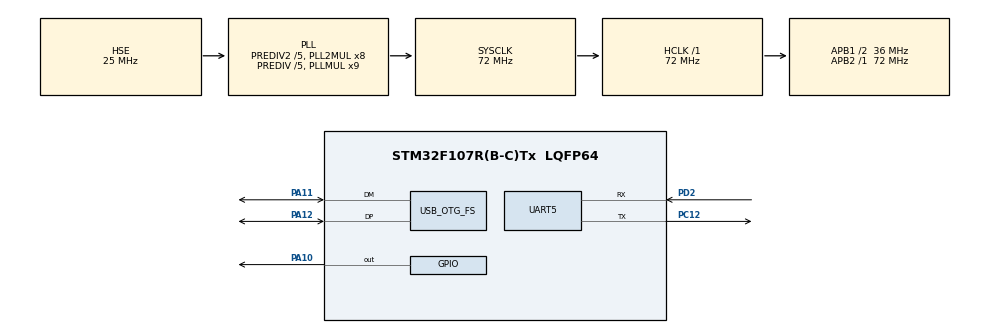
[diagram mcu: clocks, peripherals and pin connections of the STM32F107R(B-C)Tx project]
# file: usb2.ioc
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Mcu.Family=STM32F1
Mcu.Name=STM32F107R(B-C)Tx
Mcu.Package=LQFP64
NVIC.OTG_FS_IRQn=true\:0\:0\:false\:false\:true\:true\:true\:true
NVIC.PriorityGroup=NVIC_PRIORITYGROUP_4
NVIC.TIM1_UP_IRQn=true\:15\:0\:false\:false\:true\:false\:true\:true
NVIC.TimeBase=TIM1_UP_IRQn
NVIC.TimeBaseIP=TIM1
NVIC.UART5_IRQn=true\:0\:0\:false\:false\:true\:true\:true\:true
PA10.Signal=GPIO_Output
PA11.Mode=Host_Only
PA11.Signal=USB_OTG_FS_DM
PA12.Mode=Host_Only
PA12.Signal=USB_OTG_FS_DP
PC12.Mode=Asynchronous
PC12.Signal=UART5_TX
PD0-OSC_IN.Mode=HSE-External-Oscillator
PD0-OSC_IN.Signal=RCC_OSC_IN
PD1-OSC_OUT.Mode=HSE-External-Oscillator
PD1-OSC_OUT.Signal=RCC_OSC_OUT
PD2.Mode=Asynchronous
PD2.Signal=UART5_RX
ProjectManager.HeapSize=0x200
ProjectManager.StackSize=0x400
ProjectManager.TargetToolchain=STM32CubeIDE
RCC.AHBFreq_Value=72000000
RCC.APB1CLKDivider=RCC_HCLK_DIV2
RCC.APB1Freq_Value=36000000
RCC.APB1TimFreq_Value=72000000
RCC.APB2Freq_Value=72000000
RCC.APB2TimFreq_Value=72000000
RCC.HCLKFreq_Value=72000000
RCC.HSEDivPLL=RCC_HSE_PREDIV_DIV5
RCC.HSE_VALUE=25000000
RCC.PLLMUL=RCC_PLL_MUL9
RCC.PLLSourceVirtual=RCC_PLLSOURCE_HSE
RCC.Prediv1Source=RCC_PREDIV1_SOURCE_PLL2
RCC.Prediv2=RCC_HSE_PREDIV2_DIV5
RCC.SYSCLKFreq_VALUE=72000000
RCC.SYSCLKSource=RCC_SYSCLKSOURCE_PLLCLK
RCC.USBFreq_Value=48000000
UART5.VirtualMode=Asynchronous
USB_HOST.USBH_DEBUG_LEVEL=3
USB_HOST.USBH_HandleTypeDef=hUsbHostFS
USB_HOST.USBH_MAX_DATA_BUFFER=2048
USB_HOST.USBH_MAX_NUM_CONFIGURATION=255
USB_HOST.USBH_MAX_NUM_ENDPOINTS=15
USB_HOST.USBH_MAX_NUM_INTERFACES=15
USB_HOST.USBH_MAX_NUM_SUPPORTED_CLASS=15
USB_HOST.USBH_USE_OS-ALL_Classes_FS=0
USB_HOST.VirtualModeFS=All_Classes
USB_OTG_FS.VirtualMode=Host_Only
USB_OTG_FS.speed=HCD_SPEED_LOW
VP_SYS_VS_tim1.Mode=TIM1
VP_USB_HOST_VS_USB_HOST_ALL_CLASS_FS.Mode=ALL_Classes_FS
board=custom

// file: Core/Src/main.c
/* USER CODE BEGIN Header */
/**
 ******************************************************************************
 * @file           : main.c
 * @brief          : Main program body
 ******************************************************************************
 * @attention
 *
 * Copyright (c) 2023 STMicroelectronics.
 * All rights reserved.
 *
 * This software is licensed under terms that can be found in the LICENSE file
 * in the root directory of this software component.
 * If no LICENSE file comes with this software, it is provided AS-IS.
 *
 ******************************************************************************
 */
/* USER CODE END Header */
#include "main.h"
#include "usart.h"
#include "usb_host.h"
#include "gpio.h"

/* USER CODE BEGIN Includes */
#include "stdarg.h"
#include "usbh_cdc.h"
#include "../2can/hw.h"
#include "../2can/PaymentController.h"
#include "../2can/WebObject.h"
/* USER CODE END Includes */

/* USER CODE BEGIN PTD */
typedef enum {
	UART_RX_0 = 48,
	UART_RX_1,
	UART_RX_2,
	UART_RX_NONE = 0xFF,
}UARTCommandTypeDef;

#define RXBUFFERSIZE                     64

/* USER CODE END PTD */

/* USER CODE BEGIN PD */

#define DEBUG_ENABLED 					1
#define AUTH                    		1
#define GET_READER_INFO         		1
#define TEST_LINKED_CARD 				0
#define TEST_CARD_PAYMENT 				1
#define TEST_SCHEDULE					0
#define TEST_REVERSE					0
#define TEST_PURCHASES					0
#define TEST_PRODUCT					0
#define TEST_TAGS						0
#define TEST_TRANSACTION				0
#define TEST_FISCALIZE					0
#define TEST_PREPARE					0
#define TEST_REVERSE_LAST_TRANSACTION 	0

#define EMAIL            				""
#define SECRET_KEY					""
#define AMOUNT							23.0
#define AMOUNT_REVERSE					0.0
#define TRANSACTION_ID					"CBEC0494-6938-489E-B3FA-FC829C6EAAB0"
#define RECEIPT_EMAIL					"test@mail.de"
#define RECEIPT_PHONE					"+73211232312"
#define ACQUIRER_CODE					NULL		//"ACQ_CODE"
#define PRODUCT_FIELD_TEST_DATA			"field data"
#define PRINTER_TAPE_WIDTH_CHARS		32

/* USER CODE END PD */

/* USER CODE BEGIN PV */

static char uart_tx_buf[250];
int uart_buf_len;
int isBleuIOReady;
static UARTCommandTypeDef uartStatus;
static uint8_t aRxBuffer[RXBUFFERSIZE];
static int RX_value;
/* USER CODE END PV */

void SystemClock_Config(void);
void MX_USB_HOST_Process(void);

/* USER CODE BEGIN 0 */
void UARTPrint(const char *args, ...)
{
	char StrBuff[256];
	va_list ap;
	va_start(ap, args);
	char len = vsnprintf(StrBuff, sizeof(StrBuff), args, ap);
	va_end(ap);
	HAL_UART_Transmit(&huart5,(uint8_t*)StrBuff,len,100);
}

//extern USBH_HandleTypeDef hUsbHostFS;
extern ApplicationTypeDef Appli_state;
extern USBH_StatusTypeDef usbresult;

#define RX_BUFF_SIZE   64  /* Max Received data 1KB */

uint8_t CDC_RX_Buffer[RX_BUFF_SIZE];
uint8_t CDC_TX_Buffer[RX_BUFF_SIZE];

typedef enum {
	CDC_STATE_IDLE = 0,
	CDC_SEND,
	CDC_RECEIVE,
}CDC_StateTypedef;

CDC_StateTypedef CDC_STATE = CDC_STATE_IDLE;

uint8_t i=4;
void CDC_HANDLE (void)
{
	switch (CDC_STATE)
	{
	case CDC_STATE_IDLE:
	{
		USBH_CDC_Stop(&hUsbHostFS);
		int len = sprintf ((char *)CDC_TX_Buffer, "DATA = %d", i);
		if (USBH_CDC_Transmit (&hUsbHostFS, CDC_TX_Buffer, len) == USBH_OK)
		{
			CDC_STATE = CDC_RECEIVE;
		}
		i++;
		break;
	}

	case CDC_RECEIVE:
	{
		USBH_CDC_Stop(&hUsbHostFS);
		usbresult = USBH_CDC_Receive(&hUsbHostFS, (uint8_t *) CDC_RX_Buffer, RX_BUFF_SIZE);
		HAL_Delay (1000);
		CDC_STATE = CDC_STATE_IDLE;
	}

	default:
		break;
	}
}
Ibox_Account *mAccount = NULL;
const char *mTransactionId = NULL;
void startTransactionAction(const char *transactionId)
{
	mTransactionId = transactionId;
	fprintf(stderr, "TransactionID:%s\n", transactionId);
}
int selectEmvApplicationAction(char **emvApplications, int emvApplicationsCount)
{
	fprintf(stderr, "selectEmvApplicationAction\n");
	int selectedIndex = 1;
	for (int i = 0; i < emvApplicationsCount; i++)
		fprintf(stderr, "emv app title: %d - %s\n", i, emvApplications[i]);
	return selectedIndex;
}
void sendUSB(char *buf, int size)
{

		switch(Appli_state)
		{
		case  APPLICATION_IDLE:
			UARTPrint("APPLICATION_IDLE\r\n");
			break;
		case  APPLICATION_DISCONNECT:
			UARTPrint("APPLICATION_DISCONNECT\r\n");
			break;
		case    APPLICATION_START:
			//UARTPrint("  APPLICATION_START\r\n");
			USBH_CDC_Stop(&hUsbHostFS);
			USBH_CDC_Transmit (&hUsbHostFS, buf, size);
			//HAL_UART_Transmit_IT(&huart5, buf, size);
			i++;
			HAL_Delay(1000);
//			USBH_CDC_Receive(&hUsbHostFS,buf, size);
//			UARTPrint("Recive ------------------------------\r\n\n");
//
//			HAL_UART_Transmit_IT(&huart5, buf, size);
			break;
		case APPLICATION_READY:
			UARTPrint("  APPLICATION_READY\r\n");
			USBH_CDC_Stop(&hUsbHostFS);
			USBH_CDC_Transmit (&hUsbHostFS, buf, size);
//			USBH_CDC_Stop(&hUsbHostFS);
//			USBH_CDC_Transmit (&hUsbHostFS, buf, size);
//			HAL_UART_Transmit_IT(&huart5, buf, size);
//			i++;
//			HAL_Delay(1000);
//			USBH_CDC_Receive(&hUsbHostFS,buf, size);
//			UARTPrint("Recive:\r\n");
//
//			HAL_UART_Transmit_IT(&huart5, buf, size);
			break;
		}

}

/* USER CODE END 0 */

int main(void)
{

  /* MCU Configuration--------------------------------------------------------*/

  /* Reset of all peripherals, Initializes the Flash interface and the Systick. */
  HAL_Init();

  /* Configure the system clock */
  SystemClock_Config();

  /* Initialize all configured peripherals */
  MX_GPIO_Init();
  MX_USB_HOST_Init();
  MX_UART5_Init();
  /* USER CODE BEGIN 2 */

//	Ibox_Result_Authentication *authResult = NULL;
//	Ibox_PaymentController_SetSendWebRequestAction(&sendWebRequest);
//	Ibox_PaymentController_SetSendReaderRequestAction(&sendReaderRequest);
//	Ibox_PaymentController_SetStartTransactionAction(&startTransactionAction);
//	Ibox_PaymentController_SetSelectEmvApplicationAction(&selectEmvApplicationAction);
//	Ibox_PaymentController_SetCredentials(EMAIL, SECRET_KEY);
//	Ibox_PaymentController_SetDebugEnabled(DEBUG_ENABLED);
//	Ibox_PaymentController_ReaderSoundEnabled(1);
	HAL_GPIO_WritePin(GPIOA, GPIO_PIN_10, GPIO_PIN_SET);
	HAL_UART_Receive_IT(&huart5, "ready", 5);
	int i=0;
	//HAL_UART_Transmit_IT(&huart5, "1\n", 3);
	//HAL_UART_Transmit_IT(&huart5, (uint8_t*)"2", 1);

//	HAL_UART_Transmit_IT(&huart5, "3", 1);
	//HAL_UART_Transmit_IT(&huart5, (uint8_t*)"4", 1);
	//UARTPrint("Getting reader info.\r\n");
	//Ibox_Result_ReaderId *readerIdResult;// = Ibox_PaymentController_ReaderId();

	while (1)
	{
		/* USER CODE END WHILE */
		MX_USB_HOST_Process();
//		switch(Appli_state)
//		{
//		case  APPLICATION_IDLE:
//			UARTPrint("APPLICATION_IDLE\r\n");
//			break;
//		case  APPLICATION_DISCONNECT:
//			UARTPrint("APPLICATION_DISCONNECT\r\n");
//			break;
//		case    APPLICATION_START:
//			//UARTPrint("  APPLICATION_START\r\n");
//			readerIdResult = Ibox_PaymentController_ReaderId();
//			if (!readerIdResult->errorCode)
//			{
//				UARTPrint("ReaderId:%s\r\n", readerIdResult->id);
//
//			}
//			else
//			{
//				UARTPrint("Reader id error.\n");
//			}
//			HAL_Delay(5000);
//			break;
//		case    APPLICATION_READY:
//			UARTPrint("  APPLICATION_READY\r\n");
//			readerIdResult = Ibox_PaymentController_ReaderId();
//			if (!readerIdResult->errorCode)
//			{
//				UARTPrint("ReaderId:%s\r\n", readerIdResult->id);
//
//			}
//			else
//			{
//				UARTPrint("Reader id error.\n");
//			}
//			HAL_Delay(5000);
//			break;
//		}

	}

//	if (!readerIdResult->errorCode)
//	{
//		UARTPrint("ReaderId:%s\r\n", readerIdResult->id);
//
//	}
//	else
//	{
//		UARTPrint("Reader id error.\n");
//	}
//	free(readerIdResult);
//
//	Ibox_Result_ReaderInfo *readerInfoResult = Ibox_PaymentController_ReaderInfo();
//	if (!readerInfoResult->errorCode)
//	{
//		UARTPrint( "BootloaderVersion:%s\n", readerInfoResult->bootloaderVersion);
//		UARTPrint( "FirmwareVersion:%s\n", readerInfoResult->firmwareVersion);
//		UARTPrint("HardwareVersion:%s\n", readerInfoResult->hardwareVersion);
//	}
//	else
//	{
//		UARTPrint("Reader info error.\n");
//	}
//	free(readerInfoResult);
//
//	HAL_Delay(5000);
  /* USER CODE END 2 */

  /* Infinite loop */
	while (1)
	{
    MX_USB_HOST_Process();

	}
}

void SystemClock_Config(void)
{
  RCC_OscInitTypeDef RCC_OscInitStruct = {0};
  RCC_ClkInitTypeDef RCC_ClkInitStruct = {0};
  RCC_PeriphCLKInitTypeDef PeriphClkInit = {0};

  /** Initializes the RCC Oscillators according to the specified parameters
  * in the RCC_OscInitTypeDef structure.
  */
  RCC_OscInitStruct.OscillatorType = RCC_OSCILLATORTYPE_HSE;
  RCC_OscInitStruct.HSEState = RCC_HSE_ON;
  RCC_OscInitStruct.HSEPredivValue = RCC_HSE_PREDIV_DIV5;
  RCC_OscInitStruct.HSIState = RCC_HSI_ON;
  RCC_OscInitStruct.Prediv1Source = RCC_PREDIV1_SOURCE_PLL2;
  RCC_OscInitStruct.PLL.PLLState = RCC_PLL_ON;
  RCC_OscInitStruct.PLL.PLLSource = RCC_PLLSOURCE_HSE;
  RCC_OscInitStruct.PLL.PLLMUL = RCC_PLL_MUL9;
  RCC_OscInitStruct.PLL2.PLL2State = RCC_PLL2_ON;
  RCC_OscInitStruct.PLL2.PLL2MUL = RCC_PLL2_MUL8;
  RCC_OscInitStruct.PLL2.HSEPrediv2Value = RCC_HSE_PREDIV2_DIV5;
  if (HAL_RCC_OscConfig(&RCC_OscInitStruct) != HAL_OK)
  {
    Error_Handler();
  }

  /** Initializes the CPU, AHB and APB buses clocks
  */
  RCC_ClkInitStruct.ClockType = RCC_CLOCKTYPE_HCLK|RCC_CLOCKTYPE_SYSCLK
                              |RCC_CLOCKTYPE_PCLK1|RCC_CLOCKTYPE_PCLK2;
  RCC_ClkInitStruct.SYSCLKSource = RCC_SYSCLKSOURCE_PLLCLK;
  RCC_ClkInitStruct.AHBCLKDivider = RCC_SYSCLK_DIV1;
  RCC_ClkInitStruct.APB1CLKDivider = RCC_HCLK_DIV2;
  RCC_ClkInitStruct.APB2CLKDivider = RCC_HCLK_DIV1;

  if (HAL_RCC_ClockConfig(&RCC_ClkInitStruct, FLASH_LATENCY_2) != HAL_OK)
  {
    Error_Handler();
  }
  PeriphClkInit.PeriphClockSelection = RCC_PERIPHCLK_USB;
  PeriphClkInit.UsbClockSelection = RCC_USBCLKSOURCE_PLL_DIV3;
  if (HAL_RCCEx_PeriphCLKConfig(&PeriphClkInit) != HAL_OK)
  {
    Error_Handler();
  }

  /** Configure the Systick interrupt time
  */
  __HAL_RCC_PLLI2S_ENABLE();
}

void HAL_TIM_PeriodElapsedCallback(TIM_HandleTypeDef *htim)
{
  if (htim->Instance == TIM1) {
    HAL_IncTick();
  }
}

void Error_Handler(void)
{
	__disable_irq();
	while (1)
	{
	}
}
